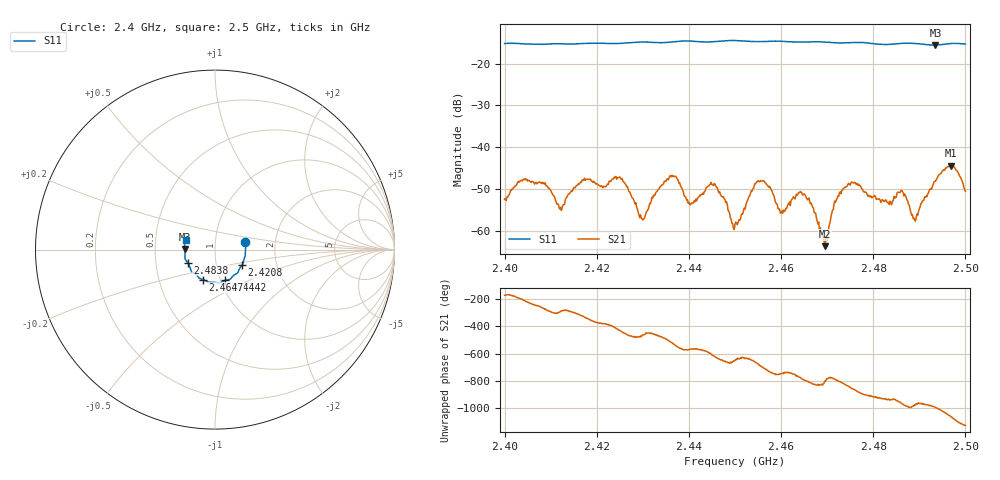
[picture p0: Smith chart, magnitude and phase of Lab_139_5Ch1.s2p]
# Hz S RI R 50
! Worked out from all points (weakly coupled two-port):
!   601 points, 2.4 GHz to 2.5 GHz, reference 50 ohm
!   highest |S21| = -44.35 dB at 2.4968 GHz (marker M1); lowest = -63.5 dB at 2.4695 GHz (marker M2)
!   lowest |S11| = -15.6 dB at 2.4935 GHz (marker M3), VSWR 1.40, Z = 35.8 + j0.21 ohm
!   |S11| at or under -10 dB: start of sweep to end of sweep
!   S12 and S22 are empty: the file has one direction only
!   S11 on the Smith chart (normalised r, x): 2.4 GHz: 1.40, +0.12; 2.4208 GHz: 1.33, -0.24; 2.4442 GHz: 1.05, -0.37; 2.4647 GHz: 0.83, -0.29; 2.4838 GHz: 0.73, -0.11; 2.5 GHz: 0.72, +0.08
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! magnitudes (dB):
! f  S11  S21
! 2.4 GHz  -15.2  -52.4
! 2.4047 GHz  -15.4  -47.7
! 2.4123 GHz  -15.3  -55.0
! 2.4167 GHz  -15.2  -48.3
! 2.4208 GHz  -15.2  -49.3
! 2.4252 GHz  -15.2  -47.2
! 2.4298 GHz  -14.9  -57.0
! 2.4333 GHz  -15.0  -50.0
! 2.4442 GHz  -14.9  -49.2
! 2.45 GHz  -14.5  -58.3
! 2.4552 GHz  -14.8  -48.2
! 2.4602 GHz  -14.7  -55.2
! 2.4647 GHz  -14.9  -51.4
! 2.4667 GHz  -14.8  -53.6
! 2.4695 GHz  -14.9  -63.5
! 2.475 GHz  -15.0  -49.0
! 2.4833 GHz  -15.5  -53.0
! 2.4838 GHz  -15.4  -53.3
! 2.4892 GHz  -15.2  -57.5
! 2.4935 GHz  -15.6  -48.1
! 2.4968 GHz  -15.2  -44.4
! 2.5 GHz  -15.4  -50.4
